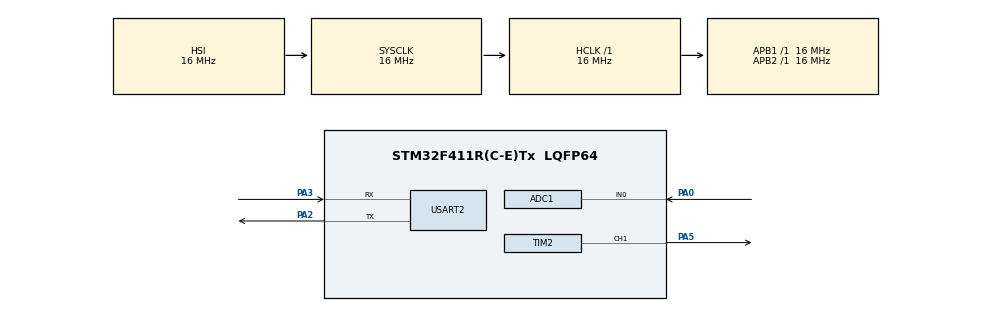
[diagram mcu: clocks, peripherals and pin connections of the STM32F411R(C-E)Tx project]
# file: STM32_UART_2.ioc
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ADC1.Channel-1\#ChannelRegularConversion=ADC_CHANNEL_0
ADC1.NbrOfConversionFlag=1
ADC1.Rank-1\#ChannelRegularConversion=1
ADC1.SamplingTime-1\#ChannelRegularConversion=ADC_SAMPLETIME_3CYCLES
ADC1.master=1
Mcu.Family=STM32F4
Mcu.Name=STM32F411R(C-E)Tx
Mcu.Package=LQFP64
NVIC.PriorityGroup=NVIC_PRIORITYGROUP_4
PA0-WKUP.Signal=ADCx_IN0
PA2.Mode=Asynchronous
PA2.Signal=USART2_TX
PA3.Mode=Asynchronous
PA3.Signal=USART2_RX
PA5.Signal=S_TIM2_CH1_ETR
ProjectManager.HeapSize=0x200
ProjectManager.StackSize=0x400
ProjectManager.TargetToolchain=STM32CubeIDE
RCC.AHBFreq_Value=16000000
RCC.APB1Freq_Value=16000000
RCC.APB2Freq_Value=16000000
RCC.CortexFreq_Value=16000000
RCC.HSE_VALUE=25000000
RCC.HSI_VALUE=16000000
RCC.LSE_VALUE=32768
RCC.SYSCLKFreq_VALUE=16000000
RCC.VCOOutputFreq_Value=192000000
SH.ADCx_IN0.0=ADC1_IN0,IN0
SH.S_TIM2_CH1_ETR.0=TIM2_CH1,PWM Generation1 CH1
TIM2.Channel-PWM\ Generation1\ CH1=TIM_CHANNEL_1
TIM2.Period=1000-1
TIM2.Prescaler=16-1
USART2.VirtualMode=VM_ASYNC
VP_TIM2_VS_ClockSourceINT.Mode=Internal
board=custom

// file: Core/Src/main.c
/* USER CODE BEGIN Header */
/**
  ******************************************************************************
  * @file           : main.c
  * @brief          : Main program body
  ******************************************************************************
  * @attention
  *
  * Copyright (c) 2026 STMicroelectronics.
  * All rights reserved.
  *
  * This software is licensed under terms that can be found in the LICENSE file
  * in the root directory of this software component.
  * If no LICENSE file comes with this software, it is provided AS-IS.
  *
  ******************************************************************************
  */
/* USER CODE END Header */
#include "main.h"
#include "adc.h"
#include "tim.h"
#include "usart.h"
#include "gpio.h"

/* USER CODE BEGIN Includes */
#include "stdio.h"
/* USER CODE END Includes */

/* USER CODE BEGIN PV */
uint8_t rx_char = 0;

typedef enum{
  MODE_OFF,
  MODE_ON,
  MODE_BLINK,
  MODE_BLINK_FADE,
} LedMode_t;

LedMode_t led_mode = MODE_OFF;

/* Toggle mode variables */
uint32_t last_toggle_tick = 0;
uint8_t toggle_state = 0;

/* Blink (fade) mode variables */
uint16_t pwm_duty = 0;
int8_t fade_step = 20;
uint32_t last_fade_tick = 0;
/* USER CODE END PV */

void SystemClock_Config(void);

/* USER CODE BEGIN 0 */
int _write(int file, char *ptr, int len)
{
  HAL_UART_Transmit(&huart2, (uint8_t *)ptr, len, 0xFFFF);
  return len;
}
/* USER CODE END 0 */

int main(void)
{

  /* MCU Configuration--------------------------------------------------------*/

  /* Reset of all peripherals, Initializes the Flash interface and the Systick. */
  HAL_Init();

  /* Configure the system clock */
  SystemClock_Config();

  /* Initialize all configured peripherals */
  MX_GPIO_Init();
  MX_ADC1_Init();
  MX_TIM2_Init();
  MX_USART2_UART_Init();
  /* USER CODE BEGIN 2 */
  /* Start PWM on Channel 1 (PA5 - onboard LED) */
  HAL_TIM_PWM_Start(&htim2, TIM_CHANNEL_1);

  /* Send startup message to terminal */
  uint8_t msg[] = "STM32 Ready. Commands: o=On, x=Off, b=Blink, f=Fade\r\n";
  HAL_UART_Transmit(&huart2, msg, sizeof(msg) - 1, 100);
  /* USER CODE END 2 */

  /* Infinite loop */
  /* USER CODE BEGIN WHILE */
  while (1)
  {
	  /* -------------------- RECEIVE (Polling, Non-Blocking) -------------------- */
	 /* timeout = 0 means: check once, return immediately if no data */
	 if (HAL_UART_Receive(&huart2, &rx_char, 1, 0) == HAL_OK)
	 {
     printf("Received: %c\r\n", rx_char);

		 switch (rx_char)
		 {
			 case 'o':
				 led_mode = MODE_ON;
				 break;

			 case 'x':
				 led_mode = MODE_OFF;
				 break;

			 case 'b':
				 led_mode = MODE_BLINK;
				 last_toggle_tick = HAL_GetTick();//A
				 toggle_state = 0;
				 break;

			 case 'f':
				 led_mode = MODE_BLINK_FADE;
				 pwm_duty = 0;
				 fade_step = fade_step;
				 last_fade_tick = HAL_GetTick();
				 break;

			 default:
				 printf("Unknown command: %c\r\n", rx_char);
				 break;
		 }
	 }

	 /* -------------------- ACTION (Switch-Case on Mode) -------------------- */
	 switch (led_mode)
	 {
		 case MODE_ON:
			 /* 100% duty cycle = LED fully ON */
			 __HAL_TIM_SET_COMPARE(&htim2, TIM_CHANNEL_1, 999);
			 break;

		 case MODE_OFF:
			 /* 0% duty cycle = LED fully OFF */
			 __HAL_TIM_SET_COMPARE(&htim2, TIM_CHANNEL_1, 0);
			 break;

		 case MODE_BLINK:
			 /* Toggle between ON and OFF every 500 ms */
			 if ((HAL_GetTick() - last_toggle_tick) >= 500)
			 {
				 toggle_state = !toggle_state;
				 __HAL_TIM_SET_COMPARE(&htim2, TIM_CHANNEL_1, toggle_state ? 999 : 0);
				 last_toggle_tick = HAL_GetTick();
			 }
			 break;

		 case MODE_BLINK_FADE:
			 /* Fade LED in/out (breathing effect) using PWM */
			 if ((HAL_GetTick() - last_fade_tick) >= 20)  /* update every 20 ms */
			 {
				 pwm_duty += fade_step;

				 if (pwm_duty >= 999)
				 {
					 //pwm_duty = 999;
					 fade_step = -fade_step;   /* reverse direction: fade down */
				 }
				 else if (pwm_duty <= 0)
				 {
					 //pwm_duty = 1;
					 fade_step = fade_step;    /* reverse direction: fade up */
				 }

				 if(pwm_duty>999)
					 pwm_duty = 999;
				 else if(pwm_duty<0)
					 pwm_duty = 0;

				 __HAL_TIM_SET_COMPARE(&htim2, TIM_CHANNEL_1, pwm_duty);
				 last_fade_tick = HAL_GetTick();
			 }
			 break;
	 };
    /* USER CODE END WHILE */

  }
}

void SystemClock_Config(void)
{
  RCC_OscInitTypeDef RCC_OscInitStruct = {0};
  RCC_ClkInitTypeDef RCC_ClkInitStruct = {0};

  /** Configure the main internal regulator output voltage
  */
  __HAL_RCC_PWR_CLK_ENABLE();
  __HAL_PWR_VOLTAGESCALING_CONFIG(PWR_REGULATOR_VOLTAGE_SCALE1);

  /** Initializes the RCC Oscillators according to the specified parameters
  * in the RCC_OscInitTypeDef structure.
  */
  RCC_OscInitStruct.OscillatorType = RCC_OSCILLATORTYPE_HSI;
  RCC_OscInitStruct.HSIState = RCC_HSI_ON;
  RCC_OscInitStruct.HSICalibrationValue = RCC_HSICALIBRATION_DEFAULT;
  RCC_OscInitStruct.PLL.PLLState = RCC_PLL_NONE;
  if (HAL_RCC_OscConfig(&RCC_OscInitStruct) != HAL_OK)
  {
    Error_Handler();
  }

  /** Initializes the CPU, AHB and APB buses clocks
  */
  RCC_ClkInitStruct.ClockType = RCC_CLOCKTYPE_HCLK|RCC_CLOCKTYPE_SYSCLK
                              |RCC_CLOCKTYPE_PCLK1|RCC_CLOCKTYPE_PCLK2;
  RCC_ClkInitStruct.SYSCLKSource = RCC_SYSCLKSOURCE_HSI;
  RCC_ClkInitStruct.AHBCLKDivider = RCC_SYSCLK_DIV1;
  RCC_ClkInitStruct.APB1CLKDivider = RCC_HCLK_DIV1;
  RCC_ClkInitStruct.APB2CLKDivider = RCC_HCLK_DIV1;

  if (HAL_RCC_ClockConfig(&RCC_ClkInitStruct, FLASH_LATENCY_0) != HAL_OK)
  {
    Error_Handler();
  }
}

void Error_Handler(void)
{
  __disable_irq();
  while (1)
  {
  }
}
